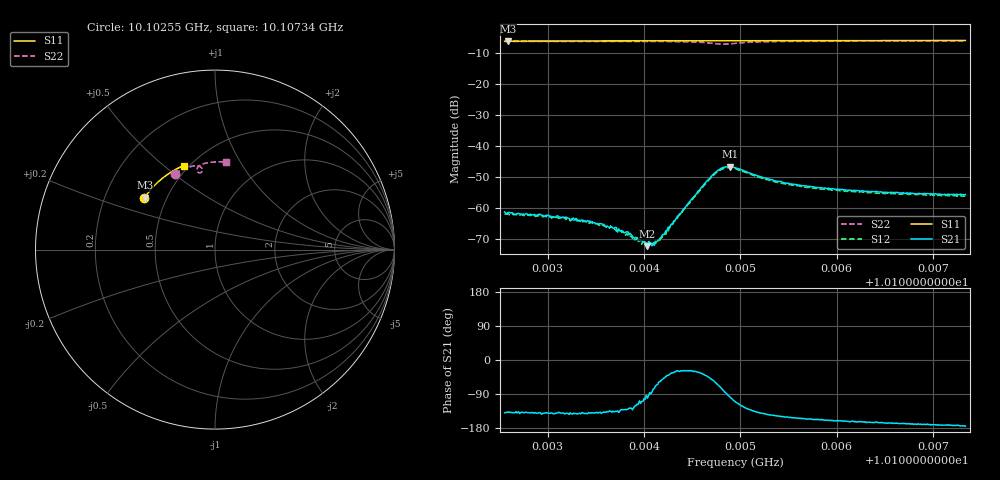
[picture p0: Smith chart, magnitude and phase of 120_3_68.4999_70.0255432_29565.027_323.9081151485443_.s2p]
#  HZ  S  RI  R  50.00
! Rohde & Schwarz Vector Network Analyzer
! Rohde-Schwarz,ZNB20-2Port,1311601062101988,3.16
! Created: UTC 3/20/2024, 4:53:57 PM
! freq[Hz]  re:S11  im:S11  re:S21  im:S21  re:S12  im:S12  re:S22  im:S22
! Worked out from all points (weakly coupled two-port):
!   401 points, 10.10255 GHz to 10.10734 GHz, reference 50 ohm
!   highest |S21| = -46.66 dB at 10.1049 GHz (marker M1); lowest = -72.3 dB at 10.10404 GHz (marker M2)
!   lowest |S11| = -6.2 dB at 10.10259 GHz (marker M3), VSWR 2.90, Z = 18.9 + j14.3 ohm
!   |S11| at or under -10 dB: nowhere
!   |S22| runs from -7.2 to -6.2 dB; largest |S21 - S12| = 0.00048
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1.0102553e10  -0.3933 0.2872  -0.000653 -0.000564  -0.000567 -0.000568  -0.2243 0.4238
1.0102589e10  -0.392 0.289  -0.000624 -0.000571  -0.00056 -0.000573  -0.2221 0.4249
1.0102924e10  -0.3804 0.3058  -0.000598 -0.000519  -0.000509 -0.000546  -0.2027 0.4356
1.0103354e10  -0.3645 0.3266  -0.000483 -0.000417  -0.000457 -0.000441  -0.1765 0.4479
1.0103569e10  -0.3559 0.3367  -0.000412 -0.000365  -0.000351 -0.000389  -0.1629 0.4536
1.0103689e10  -0.3512 0.342  -0.000342 -0.000318  -0.000319 -0.000329  -0.1549 0.4564
1.0103844e10  -0.3448 0.3491  -0.000226 -0.000298  -0.000205 -0.000321  -0.1442 0.46
1.0103904e10  -0.3425 0.3517  -0.00017 -0.000275  -0.000117 -0.00028  -0.1398 0.4613
1.0104012e10  -0.3379 0.3566  -6.69e-05 -0.000275  -2.7e-05 -0.000265  -0.1321 0.4632
1.0104036e10  -0.3369 0.3576  -4.37e-05 -0.000238  -1.29e-05 -0.000268  -0.1303 0.4636
1.0104084e10  -0.3349 0.3596  2.52e-05 -0.000244  4.52e-05 -0.000269  -0.1266 0.4645
1.0104155e10  -0.3319 0.3628  0.000165 -0.000259  0.000152 -0.000243  -0.1211 0.4656
1.0104227e10  -0.3287 0.3657  0.000311 -0.000294  0.000295 -0.000237  -0.115 0.4664
1.010461e10  -0.3117 0.3817  0.00181 -0.00136  0.00184 -0.00115  -0.0769 0.4575
1.0104705e10  -0.3073 0.3854  0.00207 -0.0026  0.00219 -0.0023  -0.0707 0.4443
1.0104801e10  -0.3028 0.389  0.0012 -0.00419  0.00149 -0.00388  -0.0778 0.43
1.0104897e10  -0.2986 0.3927  -0.000727 -0.00459  -0.000322 -0.00445  -0.0944 0.4306
1.0104944e10  -0.2964 0.3946  -0.00148 -0.00421  -0.00106 -0.00419  -0.0992 0.4369
1.0105363e10  -0.2766 0.4103  -0.00229 -0.00148  -0.00207 -0.00161  -0.0763 0.4737
1.0105745e10  -0.2576 0.4236  -0.002 -0.000875  -0.00183 -0.000988  -0.0474 0.4826
1.0106546e10  -0.2158 0.4484  -0.00172 -0.000412  -0.00161 -0.000557  0.00759 0.4887
1.0107336e10  -0.1723 0.4685  -0.00163 -0.000153  -0.00152 -0.000324  0.0593 0.4876
